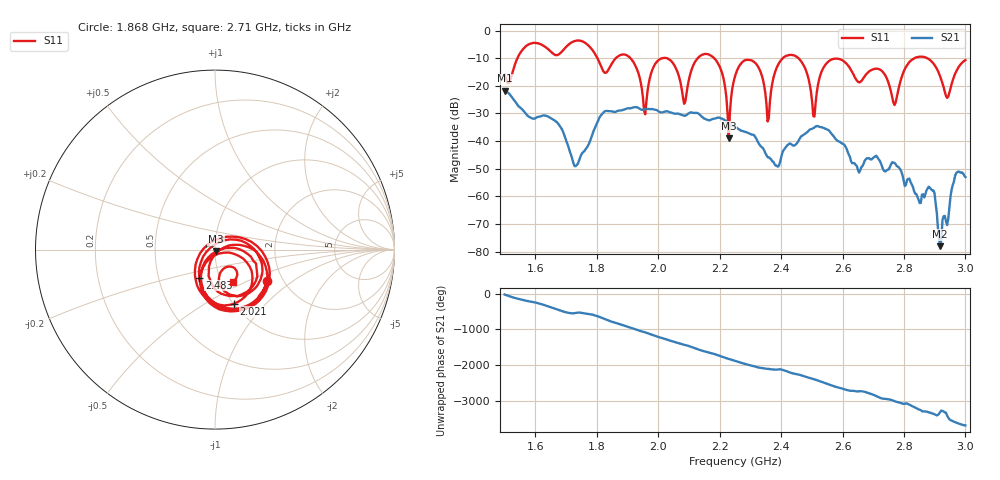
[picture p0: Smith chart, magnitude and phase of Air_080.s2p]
# HZ S RI R 50
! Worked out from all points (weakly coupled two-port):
!   404 points, 1.5 GHz to 3 GHz, reference 50 ohm
!   highest |S21| = -21.83 dB at 1.5 GHz (marker M1); lowest = -78.0 dB at 2.918 GHz (marker M2)
!   lowest |S11| = -39.0 dB at 2.23 GHz (marker M3), VSWR 1.02, Z = 50.5 - j0.985 ohm
!   |S11| at or under -10 dB: 2.182 GHz to 2.406 GHz (223.9 MHz wide, 9.76 % of centre); 2.456 GHz to 2.835 GHz (378.3 MHz wide, 14.3 % of centre); 2.875 GHz to end of sweep (the widest 3 of 7)
!   S12 and S22 are empty: the file has one direction only
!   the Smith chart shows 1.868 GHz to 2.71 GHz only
!   S11 on the Smith chart (normalised r, x): 1.868 GHz: 1.65, -0.65; 2.021 GHz: 1.00, -0.68; 2.483 GHz: 0.80, -0.26; 2.71 GHz: 1.14, -0.42
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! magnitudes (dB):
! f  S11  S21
! 1.5 GHz  -16.1  -21.8
! 1.753 GHz  -3.9  -44.3
! 1.868 GHz  -9.4  -29.1
! 1.958 GHz  -30.3  -28.4
! 2.002 GHz  -10.6  -29.4
! 2.021 GHz  -9.9  -29.4
! 2.084 GHz  -26.5  -30.8
! 2.177 GHz  -9.6  -32.0
! 2.23 GHz  -39.0  -33.8
! 2.252 GHz  -16.0  -35.0
! 2.315 GHz  -11.7  -38.4
! 2.356 GHz  -32.9  -45.8
! 2.386 GHz  -13.4  -48.9
! 2.483 GHz  -15.0  -37.0
! 2.501 GHz  -26.0  -35.6
! 2.561 GHz  -10.7  -36.9
! 2.71 GHz  -13.8  -45.3
! 2.751 GHz  -19.3  -50.3
! 2.892 GHz  -11.4  -57.9
! 2.918 GHz  -16.7  -78.0
! 2.97 GHz  -14.8  -51.6
! 3 GHz  -10.7  -53.0
